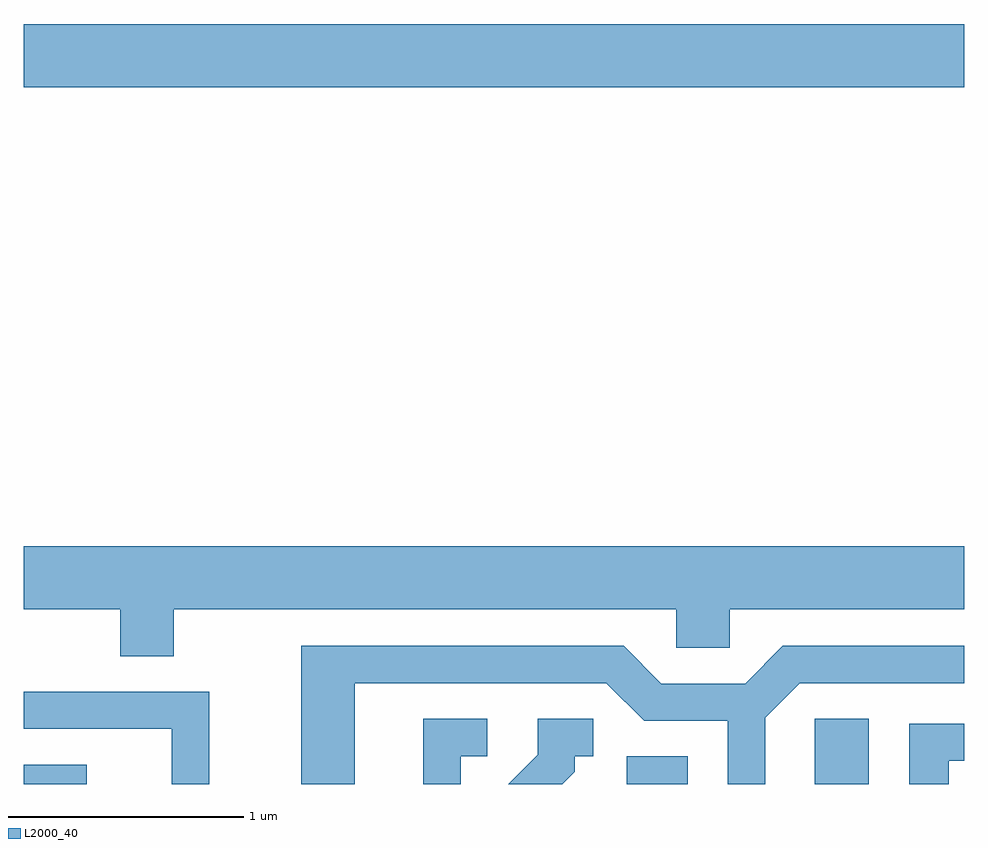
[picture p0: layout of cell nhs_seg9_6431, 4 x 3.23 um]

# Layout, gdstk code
import gdstk
lib = gdstk.Library(unit=1e-6, precision=1e-09)
def R(c, l, rs):  # rectangles x0, y0, x1, y1
    for r in rs: c.add(gdstk.rectangle(r[:2], r[2:], *l))
def P(c, l, *ps):  # polygons
    for p in ps: c.add(gdstk.Polygon(p, *l))
L2000_40 = (2000, 40)

nhs_seg9_6431 = lib.new_cell('nhs_seg9_6431')
R(nhs_seg9_6431, L2000_40, [(375.611,1964.432,375.879,1964.514), (378.176,1964.432,378.434,1964.549), (378.976,1964.432,379.204,1964.709), (375.611,1967.396,379.611,1967.664)])
P(nhs_seg9_6431, L2000_40, [(376.249,1965.176),(378.386,1965.176),(378.386,1965.011),(378.614,1965.011),(378.614,1965.176),(379.611,1965.176),(379.611,1965.444),(375.611,1965.444),(375.611,1965.176),(376.021,1965.176),(376.021,1964.976),(376.249,1964.976)],
  [(377.019,1964.861),(378.089,1964.861),(378.249,1964.701),(378.606,1964.701),(378.606,1964.432),(378.764,1964.432),(378.764,1964.714),(378.912,1964.861),(379.611,1964.861),(379.611,1965.019),(378.839,1965.019),(378.679,1964.859),(378.322,1964.859),(378.162,1965.019),(376.791,1965.019),(376.791,1964.432),(377.019,1964.432)],
  [(376.399,1964.824),(375.611,1964.824),(375.611,1964.666),(376.241,1964.666),(376.241,1964.432),(376.399,1964.432)],
  [(377.469,1964.551),(377.583,1964.551),(377.583,1964.709),(377.311,1964.709),(377.311,1964.432),(377.469,1964.432)],
  [(377.954,1964.484),(377.954,1964.551),(378.033,1964.551),(378.033,1964.709),(377.796,1964.709),(377.796,1964.557),(377.672,1964.432),(377.902,1964.432)],
  [(379.544,1964.531),(379.611,1964.531),(379.611,1964.689),(379.376,1964.689),(379.376,1964.432),(379.544,1964.432)])

lib.write_gds('nhs_seg9_6431.gds')
